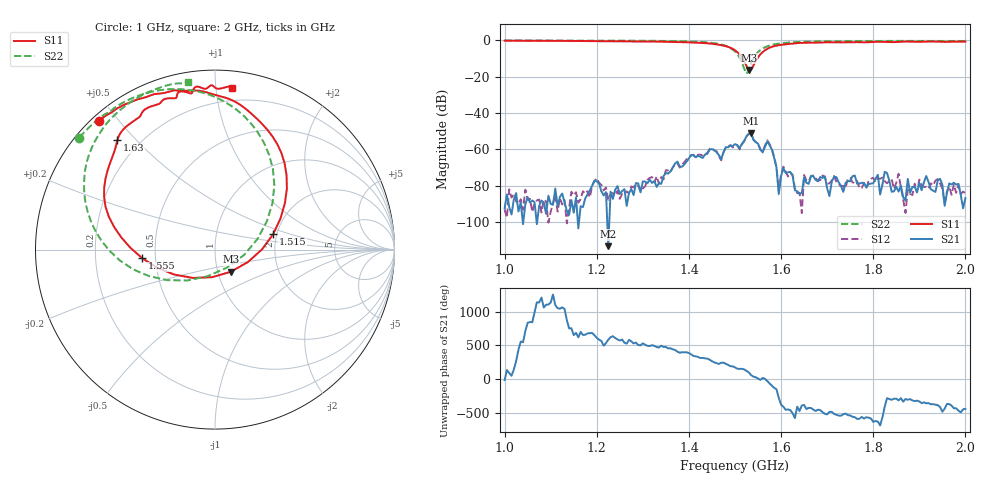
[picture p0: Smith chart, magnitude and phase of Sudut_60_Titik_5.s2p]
# Hz S RI R 50
! CMT, C1220, 16058040, 17.2.0/1
! Date: 14/08/2018 11:46:48
! Data: Format (Calibration Info)
! Freq  S11: Re/Im (F2)  S21: Re/Im (F2)  S12: Re/Im (F2)  S22: Re/Im (F2)
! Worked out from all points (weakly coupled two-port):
!   201 points, 1 GHz to 2 GHz, reference 50 ohm
!   highest |S21| = -51.01 dB at 1.535 GHz (marker M1); lowest = -113.2 dB at 1.225 GHz (marker M2)
!   lowest |S11| = -16.4 dB at 1.53 GHz (marker M3), VSWR 1.36, Z = 57.8 - j14.6 ohm
!   |S11| at or under -10 dB: 1.516 GHz to 1.549 GHz (32.41 MHz wide, 2.11 % of centre)
!   |S22| runs from -18.4 to -0.2 dB; largest |S21 - S12| = 0.00022
!   S11 on the Smith chart (normalised r, x): 1 GHz: 0.02, +0.44; 1.515 GHz: 1.91, +0.37; 1.555 GHz: 0.42, -0.05; 1.63 GHz: 0.12, +0.44; 2 GHz: 0.11, +1.11
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1e9  -0.6488 0.7152  2.27e-05 -6.92e-06  -1.62e-05 1.5e-05  -0.7551 0.6245
1.17e9  -0.4678 0.8229  1.09e-05 -2.36e-05  7.08e-05 7.23e-07  -0.6182 0.751
1.225e9  -0.3934 0.8467  -1.58e-06 -1.52e-06  2.36e-05 -3.37e-05  -0.5678 0.7833
1.335e9  -0.2027 0.8859  -3.59e-05 0.000111  -4.29e-05 0.000105  -0.4008 0.866
1.405e9  -0.0087 0.8647  0.000698 6.58e-05  0.00068 3.2e-05  -0.2069 0.8943
1.45e9  0.1834 0.7742  -9.84e-05 -0.00101  -0.000197 -0.00107  0.0211 0.8407
1.47e9  0.2923 0.6671  -0.00026 -0.000471  -0.000256 -0.000428  0.1622 0.7432
1.5e9  0.4005 0.3412  -0.00138 0.000173  -0.00123 0.000201  0.3307 0.3587
1.515e9  0.3238 0.085  -0.00124 0.000679  -0.00124 0.000628  0.2375 0.0601
1.53e9  0.089 -0.1231  -0.000374 0.00264  -0.000414 0.00265  -0.0411 -0.1481
1.535e9  -0.0155 -0.1536  0.00154 0.00236  0.0015 0.00242  -0.1543 -0.1721
1.555e9  -0.4044 -0.0487  0.00098 -0.000229  0.00097 -0.00016  -0.5296 -0.061
1.575e9  -0.5917 0.1837  0.000516 -0.0012  0.000482 -0.00131  -0.6926 0.1607
1.595e9  -0.6102 0.394  1.11e-05 5.79e-05  2.39e-05 6.69e-05  -0.7295 0.3423
1.605e9  -0.5864 0.4774  0.000189 -0.000236  0.00017 -0.000288  -0.7269 0.4128
1.63e9  -0.5437 0.6098  -5.81e-05 4.81e-05  1.1e-05 8.55e-05  -0.6961 0.5434
1.67e9  -0.4313 0.7303  -1.83e-05 -0.000182  -2.41e-05 -0.00019  -0.6263 0.6724
1.81e9  -0.1953 0.8802  9.06e-06 0.000199  2.19e-05 0.00016  -0.411 0.8577
1.815e9  -0.1849 0.8815  4.98e-05 2.83e-05  0.000137 7.17e-05  -0.4038 0.8611
1.825e9  -0.1595 0.877  0.00016 -0.000182  0.000127 3.98e-05  -0.3907 0.868
1.835e9  -0.1378 0.8703  6.66e-05 0.00012  6.17e-05 0.000123  -0.3776 0.8744
2e9  0.0971 0.9028  5.53e-06 -4.53e-05  8.12e-06 -6.2e-05  -0.1514 0.9343
